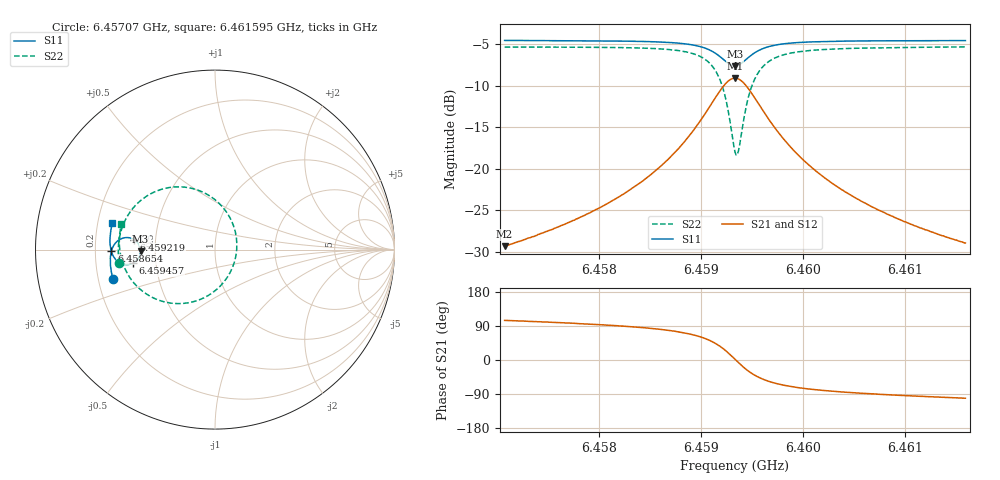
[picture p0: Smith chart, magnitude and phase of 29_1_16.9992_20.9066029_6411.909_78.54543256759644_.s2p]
#  HZ  S  RI  R  50.00
! Rohde & Schwarz Vector Network Analyzer
! Rohde-Schwarz,ZNB20-2Port,1311601062101988,3.16
! Created: UTC 3/20/2024, 10:53:18 PM
! freq[Hz]  re:S11  im:S11  re:S21  im:S21  re:S12  im:S12  re:S22  im:S22
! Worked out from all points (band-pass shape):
!   401 points, 6.45707 GHz to 6.461595 GHz, reference 50 ohm
!   highest |S21| = -9.09 dB at 6.459333 GHz (marker M1); lowest = -29.3 dB at 6.45707 GHz (marker M2)
!   |S21| within 3 dB of the highest: 6.459107 GHz to 6.459559 GHz (452 kHz wide, 0.007 % of centre)
!   lowest |S11| = -7.6 dB at 6.459333 GHz (marker M3), VSWR 2.42, Z = 20.7 - j0.43 ohm
!   |S11| at or under -10 dB: nowhere
!   |S22| runs from -18.4 to -5.3 dB; largest |S21 - S12| = 0.014
!   S11 on the Smith chart (normalised r, x): 6.45707 GHz: 0.26, -0.13; 6.458654 GHz: 0.27, -0.01; 6.459219 GHz: 0.38, +0.05; 6.459457 GHz: 0.37, -0.07; 6.461595 GHz: 0.26, +0.12
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6.4570702e9  -0.568 -0.1665  -0.00855 0.0331  -0.00691 0.0331  -0.5346 -0.076
6.4578281e9  -0.5812 -0.0999  -0.00526 0.0512  -0.00254 0.0507  -0.5386 0.0139
6.4582353e9  -0.5837 -0.0588  0.000835 0.0702  0.0041 0.0689  -0.5299 0.079
6.458586e9  -0.5794 -0.0165  0.0154 0.1002  0.0194 0.0974  -0.5027 0.159
6.4586538e9  -0.5771 -0.00704  0.021 0.1087  0.025 0.1053  -0.4921 0.1789
6.4588461e9  -0.5641 0.0234  0.0482 0.1399  0.0522 0.1349  -0.4412 0.2483
6.4589932e9  -0.5409 0.0497  0.0943 0.1705  0.0975 0.1638  -0.3557 0.3125
6.4591289e9  -0.4962 0.067  0.1831 0.1865  0.1839 0.1792  -0.1935 0.3495
6.4592194e9  -0.4509 0.0561  0.274 0.154  0.2745 0.1483  -0.025 0.2963
6.4592873e9  -0.4216 0.0231  0.335 0.0803  0.3373 0.0751  0.0908 0.1631
6.4593326e9  -0.4146 -0.0086  0.351 0.0113  0.3548 0.00414  0.1216 0.0336
6.4593665e9  -0.4189 -0.0328  0.3447 -0.042  0.3486 -0.0512  0.1087 -0.0674
6.4594117e9  -0.4349 -0.0593  0.315 -0.1026  0.3172 -0.1147  0.0485 -0.1815
6.459457e9  -0.4573 -0.0758  0.2719 -0.1437  0.271 -0.1573  -0.0387 -0.2563
6.4595475e9  -0.5015 -0.0828  0.1855 -0.1745  0.1793 -0.1862  -0.2107 -0.3007
6.4596154e9  -0.5261 -0.0754  0.1365 -0.1721  0.1283 -0.1812  -0.3052 -0.2845
6.4596945e9  -0.546 -0.0621  0.0966 -0.1597  0.0878 -0.1659  -0.3799 -0.2488
6.4598529e9  -0.5678 -0.0343  0.0513 -0.1312  0.0435 -0.1338  -0.4605 -0.1752
6.4600905e9  -0.5805 0.00111  0.0219 -0.0987  0.0161 -0.0993  -0.5081 -0.0917
6.4604411e9  -0.5852 0.0433  0.00573 -0.0708  0.00161 -0.0703  -0.5296 -0.00988
6.4608484e9  -0.5832 0.0844  -0.00173 -0.0527  -0.00459 -0.0517  -0.5332 0.0561
6.4615949e9  -0.5713 0.1507  -0.00674 -0.0351  -0.00842 -0.0341  -0.5215 0.1452
